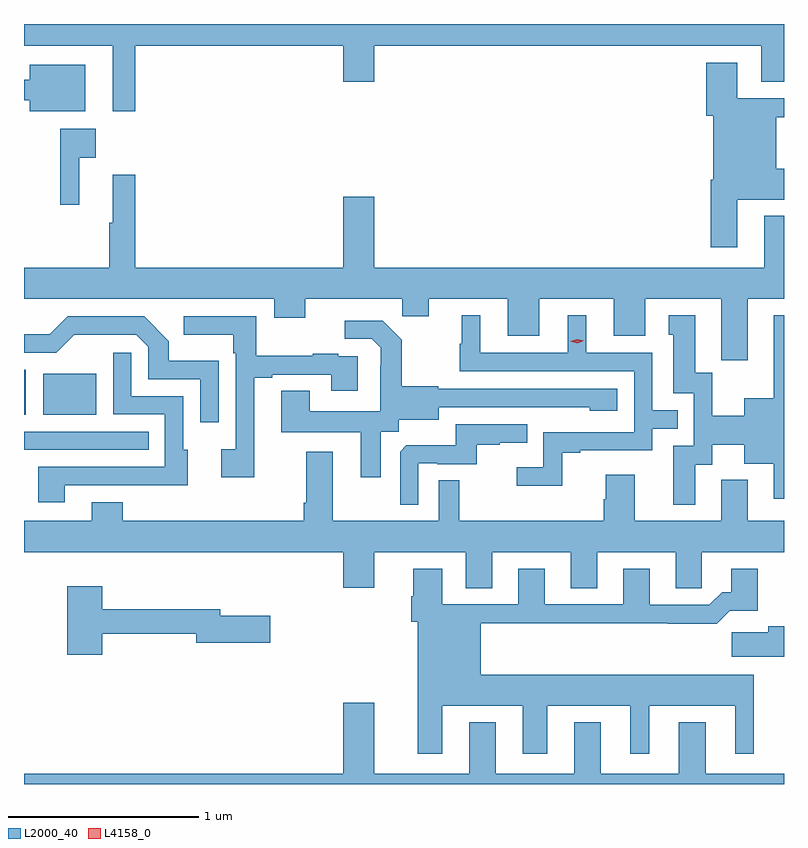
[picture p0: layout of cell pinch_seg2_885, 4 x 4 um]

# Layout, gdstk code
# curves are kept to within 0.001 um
import gdstk
lib = gdstk.Library(unit=1e-6, precision=1e-09)
def R(c, l, rs):  # rectangles x0, y0, x1, y1
    for r in rs: c.add(gdstk.rectangle(r[:2], r[2:], *l))
def P(c, l, *ps):  # polygons
    for p in ps: c.add(gdstk.Polygon(p, *l))
L2000_40 = (2000, 40)
L4158_0 = (4158, 0)

pinch_seg2_885 = lib.new_cell('pinch_seg2_885')
R(pinch_seg2_885, L2000_40, [(451.04,638.85,451.697,638.946), (451.04,639.035,451.048,639.271), (451.142,639.035,451.42,639.25)])
P(pinch_seg2_885, L2000_40, [(451.625,640.976),(452.72,640.976),(452.72,640.788),(452.884,640.788),(452.884,640.976),(454.919,640.976),(454.919,640.786),(455.04,640.786),(455.04,641.091),(451.04,641.091),(451.04,640.976),(451.508,640.976),(451.508,640.632),(451.625,640.632)],
  [(454.795,640.166),(455.04,640.166),(455.04,640.33),(454.999,640.33),(454.999,640.6),(455.04,640.6),(455.04,640.701),(454.795,640.701),(454.795,640.888),(454.631,640.888),(454.631,640.608),(454.667,640.608),(454.667,640.27),(454.655,640.27),(454.655,639.915),(454.795,639.915)],
  [(451.363,640.876),(451.07,640.876),(451.07,640.798),(451.04,640.798),(451.04,640.689),(451.07,640.689),(451.07,640.631),(451.363,640.631)],
  [(451.331,640.388),(451.417,640.388),(451.417,640.54),(451.231,640.54),(451.231,640.14),(451.331,640.14)],
  [(454.849,639.644),(455.04,639.644),(455.04,640.081),(454.937,640.081),(454.937,639.808),(452.884,639.808),(452.884,640.183),(452.72,640.183),(452.72,639.808),(451.625,639.808),(451.625,640.297),(451.508,640.297),(451.508,640.044),(451.489,640.044),(451.489,639.808),(451.04,639.808),(451.04,639.644),(452.357,639.644),(452.357,639.545),(452.521,639.545),(452.521,639.644),(453.031,639.644),(453.031,639.554),(453.169,639.554),(453.169,639.644),(453.587,639.644),(453.587,639.45),(453.751,639.45),(453.751,639.644),(454.145,639.644),(454.145,639.45),(454.309,639.45),(454.309,639.644),(454.709,639.644),(454.709,639.433),(454.71,639.433),(454.71,639.321),(454.849,639.321)],
  [(454.573,638.77),(454.663,638.77),(454.663,638.876),(454.832,638.876),(454.832,638.777),(454.985,638.777),(454.985,638.592),(455.04,638.592),(455.04,639.559),(454.985,639.559),(454.985,639.121),(454.832,639.121),(454.832,639.028),(454.662,639.028),(454.662,639.255),(454.573,639.255),(454.573,639.559),(454.433,639.559),(454.433,639.456),(454.457,639.456),(454.457,639.147),(454.566,639.147),(454.566,638.871),(454.457,638.871),(454.457,638.562),(454.573,638.562)],
  [(453.873,638.835),(453.967,638.835),(453.967,638.847),(454.347,638.847),(454.347,638.961),(454.481,638.961),(454.481,639.057),(454.347,639.057),(454.347,639.36),(454,639.36),(454,639.559),(453.902,639.559),(453.902,639.36),(453.442,639.36),(453.442,639.559),(453.344,639.559),(453.344,639.408),(453.333,639.408),(453.333,639.264),(454.251,639.264),(454.251,638.943),(453.774,638.943),(453.774,638.758),(453.633,638.758),(453.633,638.66),(453.873,638.66)],
  [(452.064,639.319),(451.803,639.319),(451.803,639.422),(451.672,639.552),(451.269,639.552),(451.175,639.458),(451.04,639.458),(451.04,639.36),(451.209,639.36),(451.304,639.455),(451.632,639.456),(451.695,639.393),(451.695,639.222),(451.968,639.222),(451.968,638.994),(452.064,638.994)],
  [(452.251,639.228),(452.347,639.228),(452.347,639.246),(452.657,639.246),(452.657,639.162),(452.797,639.162),(452.797,639.342),(452.693,639.342),(452.693,639.355),(452.561,639.355),(452.561,639.344),(452.263,639.344),(452.263,639.552),(451.881,639.552),(451.881,639.455),(452.142,639.455),(452.142,639.359),(452.154,639.359),(452.154,638.854),(452.079,638.854),(452.079,638.706),(452.251,638.706)],
  [(452.917,638.944),(453.012,638.944),(453.012,639.008),(453.223,639.008),(453.223,639.075),(454.017,639.074),(454.017,639.056),(454.162,639.056),(454.162,639.171),(453.219,639.171),(453.219,639.184),(453.027,639.184),(453.027,639.429),(452.927,639.529),(452.727,639.529),(452.727,639.435),(452.871,639.435),(452.918,639.388),(452.918,639.293),(452.916,639.293),(452.916,639.052),(452.545,639.052),(452.545,639.161),(452.393,639.161),(452.393,638.942),(452.813,638.942),(452.813,638.706),(452.917,638.706)],
  [(451.255,638.664),(451.685,638.664),(451.685,638.663),(451.903,638.663),(451.903,638.85),(451.878,638.85),(451.878,639.132),(451.605,639.132),(451.605,639.361),(451.509,639.361),(451.509,639.036),(451.782,639.036),(451.782,638.76),(451.115,638.76),(451.115,638.574),(451.255,638.574)],
  [(453.114,638.778),(453.214,638.778),(453.214,638.775),(453.422,638.775),(453.422,638.877),(453.545,638.877),(453.545,638.888),(453.689,638.888),(453.689,638.985),(453.312,638.985),(453.312,638.873),(453.053,638.873),(453.021,638.841),(453.021,638.561),(453.114,638.561)],
  [(453.505,638.312),(453.917,638.312),(453.917,638.122),(454.057,638.122),(454.057,638.312),(454.469,638.312),(454.469,638.122),(454.608,638.122),(454.608,638.312),(455.04,638.312),(455.04,638.476),(454.849,638.476),(454.849,638.692),(454.709,638.692),(454.709,638.476),(454.255,638.476),(454.255,638.719),(454.103,638.719),(454.103,638.589),(454.091,638.589),(454.091,638.476),(453.331,638.476),(453.331,638.69),(453.222,638.69),(453.222,638.476),(452.665,638.476),(452.665,638.839),(452.525,638.839),(452.525,638.572),(452.513,638.572),(452.513,638.476),(451.561,638.476),(451.561,638.575),(451.397,638.575),(451.397,638.476),(451.04,638.476),(451.04,638.312),(452.72,638.312),(452.72,638.124),(452.884,638.124),(452.884,638.312),(453.365,638.312),(453.365,638.122),(453.505,638.122)],
  [(453.241,637.502),(453.665,637.502),(453.665,637.251),(453.793,637.251),(453.793,637.502),(454.232,637.502),(454.232,637.251),(454.33,637.251),(454.33,637.502),(454.784,637.502),(454.784,637.251),(454.882,637.251),(454.882,637.666),(453.445,637.666),(453.445,637.936),(454.429,637.936),(454.429,637.934),(454.685,637.934),(454.754,638.003),(454.903,638.003),(454.903,638.224),(454.763,638.224),(454.763,638.101),(454.714,638.101),(454.647,638.034),(454.333,638.034),(454.333,638.224),(454.193,638.224),(454.193,638.037),(453.781,638.037),(453.781,638.224),(453.641,638.224),(453.641,638.037),(453.241,638.037),(453.241,638.224),(453.089,638.224),(453.089,638.078),(453.077,638.078),(453.077,637.944),(453.113,637.944),(453.113,637.251),(453.241,637.251)],
  [(451.451,637.882),(451.946,637.882),(451.946,637.835),(452.335,637.835),(452.335,637.977),(452.074,637.977),(452.074,638.011),(451.451,638.011),(451.451,638.131),(451.268,638.131),(451.268,637.77),(451.451,637.77)],
  [(455.04,637.921),(454.958,637.921),(454.958,637.889),(454.764,637.889),(454.764,637.76),(455.04,637.76)],
  [(455.04,637.144),(454.627,637.144),(454.627,637.417),(454.487,637.417),(454.487,637.144),(454.075,637.144),(454.075,637.417),(453.935,637.417),(453.935,637.144),(453.523,637.144),(453.523,637.417),(453.383,637.417),(453.383,637.144),(452.884,637.144),(452.884,637.519),(452.72,637.519),(452.72,637.144),(451.04,637.144),(451.04,637.091),(455.04,637.091)])
P(pinch_seg2_885, L4158_0, [(453.951,639.412),(453.915,639.421),(453.915,639.421),(453.915,639.421),(453.951,639.432),(453.986,639.424),(453.987,639.423),(453.986,639.423)])

lib.write_gds('pinch_seg2_885.gds')
